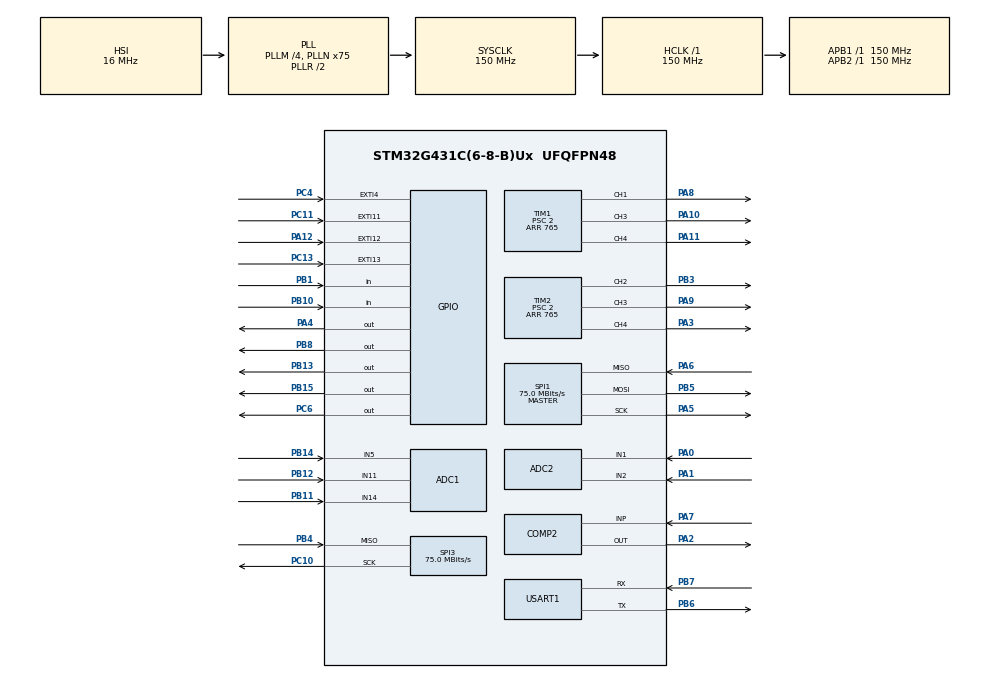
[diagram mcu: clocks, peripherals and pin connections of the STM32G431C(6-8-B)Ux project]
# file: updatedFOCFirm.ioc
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ADC1.Channel-0\#ChannelRegularConversion=ADC_CHANNEL_5
ADC1.Channel-1\#ChannelRegularConversion=ADC_CHANNEL_11
ADC1.Channel-2\#ChannelRegularConversion=ADC_CHANNEL_14
ADC1.DMAContinuousRequests=ENABLE
ADC1.EOCSelection=ADC_EOC_SEQ_CONV
ADC1.ExternalTrigConv=ADC_EXTERNALTRIG_T1_CC2
ADC1.NbrOfConversion=3
ADC1.NbrOfConversionFlag=1
ADC1.Offset-0\#ChannelRegularConversion=40
ADC1.Offset-1\#ChannelRegularConversion=10
ADC1.OffsetNumber-0\#ChannelRegularConversion=ADC_OFFSET_4
ADC1.OffsetNumber-1\#ChannelRegularConversion=ADC_OFFSET_1
ADC1.OffsetNumber-2\#ChannelRegularConversion=ADC_OFFSET_NONE
ADC1.Rank-0\#ChannelRegularConversion=1
ADC1.Rank-1\#ChannelRegularConversion=2
ADC1.Rank-2\#ChannelRegularConversion=3
ADC1.SamplingTime-0\#ChannelRegularConversion=ADC_SAMPLETIME_6CYCLES_5
ADC1.SamplingTime-1\#ChannelRegularConversion=ADC_SAMPLETIME_6CYCLES_5
ADC1.SamplingTime-2\#ChannelRegularConversion=ADC_SAMPLETIME_6CYCLES_5
ADC1.master=1
ADC2.Channel-0\#ChannelRegularConversion=ADC_CHANNEL_1
ADC2.Channel-1\#ChannelRegularConversion=ADC_CHANNEL_2
ADC2.DMAContinuousRequests=ENABLE
ADC2.ExternalTrigConv=ADC_EXTERNALTRIG_T1_CC2
ADC2.NbrOfConversion=2
ADC2.NbrOfConversionFlag=1
ADC2.OffsetNumber-0\#ChannelRegularConversion=ADC_OFFSET_NONE
ADC2.OffsetNumber-1\#ChannelRegularConversion=ADC_OFFSET_NONE
ADC2.Rank-0\#ChannelRegularConversion=1
ADC2.Rank-1\#ChannelRegularConversion=2
ADC2.SamplingTime-0\#ChannelRegularConversion=ADC_SAMPLETIME_6CYCLES_5
ADC2.SamplingTime-1\#ChannelRegularConversion=ADC_SAMPLETIME_6CYCLES_5
Dma.ADC1.0.Direction=DMA_PERIPH_TO_MEMORY
Dma.ADC1.0.EventEnable=DISABLE
Dma.ADC1.0.Instance=DMA1_Channel1
Dma.ADC1.0.MemDataAlignment=DMA_MDATAALIGN_HALFWORD
Dma.ADC1.0.MemInc=DMA_MINC_ENABLE
Dma.ADC1.0.Mode=DMA_CIRCULAR
Dma.ADC1.0.PeriphDataAlignment=DMA_PDATAALIGN_HALFWORD
Dma.ADC1.0.PeriphInc=DMA_PINC_DISABLE
Dma.ADC1.0.Polarity=HAL_DMAMUX_REQ_GEN_RISING
Dma.ADC1.0.Priority=DMA_PRIORITY_LOW
Dma.ADC1.0.RequestNumber=1
Dma.ADC1.0.SignalID=NONE
Dma.ADC1.0.SyncEnable=DISABLE
Dma.ADC1.0.SyncPolarity=HAL_DMAMUX_SYNC_NO_EVENT
Dma.ADC1.0.SyncRequestNumber=1
Dma.ADC1.0.SyncSignalID=NONE
Dma.ADC2.1.Direction=DMA_PERIPH_TO_MEMORY
Dma.ADC2.1.EventEnable=DISABLE
Dma.ADC2.1.Instance=DMA1_Channel2
Dma.ADC2.1.MemDataAlignment=DMA_MDATAALIGN_HALFWORD
Dma.ADC2.1.MemInc=DMA_MINC_ENABLE
Dma.ADC2.1.Mode=DMA_CIRCULAR
Dma.ADC2.1.PeriphDataAlignment=DMA_PDATAALIGN_HALFWORD
Dma.ADC2.1.PeriphInc=DMA_PINC_DISABLE
Dma.ADC2.1.Polarity=HAL_DMAMUX_REQ_GEN_RISING
Dma.ADC2.1.Priority=DMA_PRIORITY_LOW
Dma.ADC2.1.RequestNumber=1
Dma.ADC2.1.SignalID=NONE
Dma.ADC2.1.SyncEnable=DISABLE
Dma.ADC2.1.SyncPolarity=HAL_DMAMUX_SYNC_NO_EVENT
Dma.ADC2.1.SyncRequestNumber=1
Dma.ADC2.1.SyncSignalID=NONE
Dma.Request0=ADC1
Dma.Request1=ADC2
Mcu.Family=STM32G4
Mcu.Name=STM32G431C(6-8-B)Ux
Mcu.Package=UFQFPN48
NVIC.DMA1_Channel1_IRQn=true\:0\:0\:false\:false\:true\:false\:true\:true
NVIC.DMA1_Channel2_IRQn=true\:0\:0\:false\:false\:true\:false\:true\:true
NVIC.EXTI15_10_IRQn=true\:0\:0\:false\:false\:true\:true\:true\:true
NVIC.EXTI4_IRQn=true\:0\:0\:false\:false\:true\:true\:true\:true
NVIC.PriorityGroup=NVIC_PRIORITYGROUP_4
NVIC.TIM1_TRG_COM_TIM17_IRQn=true\:0\:0\:false\:false\:true\:true\:true\:true
NVIC.TIM7_IRQn=true\:0\:0\:false\:false\:true\:true\:true\:true
PA0.Mode=IN1-Single-Ended
PA0.Signal=ADC2_IN1
PA1.Mode=IN2-Single-Ended
PA1.Signal=ADC2_IN2
PA10.Signal=S_TIM1_CH3
PA11.Signal=S_TIM1_CH4
PA12.Signal=GPXTI12
PA13.Mode=Serial_Wire
PA13.Signal=SYS_JTMS-SWDIO
PA14.Mode=Serial_Wire
PA14.Signal=SYS_JTCK-SWCLK
PA2.Mode=ExternalOutput
PA2.Signal=COMP2_OUT
PA3.Signal=S_TIM2_CH4
PA4.Signal=GPIO_Output
PA5.Mode=Full_Duplex_Master
PA5.Signal=SPI1_SCK
PA6.Mode=Full_Duplex_Master
PA6.Signal=SPI1_MISO
PA7.Mode=INP
PA7.Signal=COMP2_INP
PA8.Signal=S_TIM1_CH1
PA9.Signal=S_TIM2_CH3
PB1.Signal=GPIO_Input
PB10.Signal=GPIO_Input
PB11.Mode=IN14-Single-Ended
PB11.Signal=ADC1_IN14
PB12.Mode=IN11-Single-Ended
PB12.Signal=ADC1_IN11
PB13.Signal=GPIO_Output
PB14.Mode=IN5-Single-Ended
PB14.Signal=ADC1_IN5
PB15.Signal=GPIO_Output
PB3.Signal=S_TIM2_CH2
PB4.Mode=RX_Only_Simplex_Unidirect_Master
PB4.Signal=SPI3_MISO
PB5.Mode=Full_Duplex_Master
PB5.Signal=SPI1_MOSI
PB6.Mode=Asynchronous
PB6.Signal=USART1_TX
PB7.Mode=Asynchronous
PB7.Signal=USART1_RX
PB8-BOOT0.Signal=GPIO_Output
PC10.Mode=RX_Only_Simplex_Unidirect_Master
PC10.Signal=SPI3_SCK
PC11.GPIO_ModeDefaultEXTI=GPIO_MODE_IT_RISING_FALLING
PC11.Signal=GPXTI11
PC13.GPIO_ModeDefaultEXTI=GPIO_MODE_IT_RISING_FALLING
PC13.Signal=GPXTI13
PC4.GPIO_ModeDefaultEXTI=GPIO_MODE_IT_RISING_FALLING
PC4.Signal=GPXTI4
PC6.Signal=GPIO_Output
ProjectManager.HeapSize=0x200
ProjectManager.StackSize=0x400
ProjectManager.TargetToolchain=STM32CubeIDE
RCC.ADC12Freq_Value=150000000
RCC.AHBFreq_Value=150000000
RCC.APB1Freq_Value=150000000
RCC.APB1TimFreq_Value=150000000
RCC.APB2Freq_Value=150000000
RCC.APB2TimFreq_Value=150000000
RCC.CortexFreq_Value=150000000
RCC.EXTERNAL_CLOCK_VALUE=12288000
RCC.HCLKFreq_Value=150000000
RCC.HSE_VALUE=8000000
RCC.HSI48_VALUE=48000000
RCC.HSI_VALUE=16000000
RCC.LSE_VALUE=32768
RCC.PLLM=RCC_PLLM_DIV4
RCC.PLLN=75
RCC.SYSCLKFreq_VALUE=150000000
RCC.SYSCLKSource=RCC_SYSCLKSOURCE_PLLCLK
RCC.USBFreq_Value=150000000
RCC.VCOOutputFreq_Value=300000000
SH.S_TIM1_CH1.0=TIM1_CH1,PWM Generation1 CH1
SH.S_TIM1_CH3.0=TIM1_CH3,PWM Generation3 CH3
SH.S_TIM1_CH4.0=TIM1_CH4,PWM Generation4 CH4
SH.S_TIM2_CH2.0=TIM2_CH2,PWM Generation2 CH2
SH.S_TIM2_CH3.0=TIM2_CH3,PWM Generation3 CH3
SH.S_TIM2_CH4.0=TIM2_CH4,PWM Generation4 CH4
SPI1.CalculateBaudRate=75.0 MBits/s
SPI1.Direction=SPI_DIRECTION_2LINES
SPI1.Mode=SPI_MODE_MASTER
SPI1.VirtualType=VM_MASTER
SPI3.CalculateBaudRate=75.0 MBits/s
SPI3.Direction=SPI_DIRECTION_2LINES_RXONLY
SPI3.Mode=SPI_MODE_MASTER
SPI3.VirtualType=VM_MASTER
TIM1.Channel-PWM\ Generation1\ CH1=TIM_CHANNEL_1
TIM1.Channel-PWM\ Generation2\ No\ Output=TIM_CHANNEL_2
TIM1.Channel-PWM\ Generation3\ CH3=TIM_CHANNEL_3
TIM1.Channel-PWM\ Generation4\ CH4=TIM_CHANNEL_4
TIM1.CounterMode=TIM_COUNTERMODE_CENTERALIGNED1
TIM1.OCPolarity_1=TIM_OCPOLARITY_HIGH
TIM1.OCPolarity_3=TIM_OCPOLARITY_HIGH
TIM1.OCPolarity_4=TIM_OCPOLARITY_HIGH
TIM1.PeriodNoDither=765
TIM1.Prescaler=2
TIM1.TIM_MasterOutputTrigger=TIM_TRGO_OC2REF
TIM1.TIM_MasterSlaveMode=TIM_MASTERSLAVEMODE_ENABLE
TIM16.PeriodNoDither=10000
TIM16.Prescaler=2
TIM17.Prescaler=150
TIM2.Channel-PWM\ Generation2\ CH2=TIM_CHANNEL_2
TIM2.Channel-PWM\ Generation3\ CH3=TIM_CHANNEL_3
TIM2.Channel-PWM\ Generation4\ CH4=TIM_CHANNEL_4
TIM2.PeriodNoDither=765
TIM2.Prescaler=2
TIM7.PeriodNoDither=2556
TIM7.Prescaler=4
USART1.VirtualMode-Asynchronous=VM_ASYNC
VP_COMP2_VS_VREFINT.Mode=VREFINT
VP_SYS_VS_DBSignals.Mode=DisableDeadBatterySignals
VP_TIM16_VS_ClockSourceINT.Mode=Enable_Timer
VP_TIM17_VS_ClockSourceINT.Mode=Enable_Timer
VP_TIM1_VS_ClockSourceINT.Mode=Internal
VP_TIM1_VS_no_output2.Mode=PWM Generation2 No Output
VP_TIM7_VS_ClockSourceINT.Mode=Enable_Timer
board=custom

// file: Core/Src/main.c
/* USER CODE BEGIN Header */
/**
  ******************************************************************************
  * @file           : main.c
  * @brief          : Main program body
  ******************************************************************************
  * @attention
  *
  * Copyright (c) 2024 STMicroelectronics.
  * All rights reserved.
  *
  * This software is licensed under terms that can be found in the LICENSE file
  * in the root directory of this software component.
  * If no LICENSE file comes with this software, it is provided AS-IS.
  *
  ******************************************************************************
  */
/* USER CODE END Header */
#include "main.h"

/* USER CODE BEGIN Includes */
#include "motor.h"
#include "stm32g4xx.h"
#include "stm32g431xx.h"
#include "stm32g4xx_hal.h"
#include "lsm6dso.h"
#include "lsm6dso_reg.h"
#include <string.h>
/* USER CODE END Includes */

/* USER CODE BEGIN PD */
#define ADC_BUF_LENGTH 4096
#define TIMCLOCK   150000000
#define PRESCALAR  150
/* USER CODE END PD */

ADC_HandleTypeDef hadc1;
ADC_HandleTypeDef hadc2;
DMA_HandleTypeDef hdma_adc1;
DMA_HandleTypeDef hdma_adc2;

COMP_HandleTypeDef hcomp2;

SPI_HandleTypeDef hspi1;
SPI_HandleTypeDef hspi3;

TIM_HandleTypeDef htim1;
TIM_HandleTypeDef htim2;
TIM_HandleTypeDef htim7;
TIM_HandleTypeDef htim16;
TIM_HandleTypeDef htim17;

UART_HandleTypeDef huart1;

/* USER CODE BEGIN PV */
float gravity = 9.807f;
uint16_t adc1_val[2];
uint16_t adc_val2;
uint8_t rxBuffer;
uint8_t adcDataReady;
uint8_t uartDataReady;
uint32_t tim1Val1 = 0;
uint32_t tim1Val2 = 0;
uint32_t Difference1 = 0;
int isFirstCap1 = 0;
float frequency1 = 0;
uint32_t tim2Val1 = 0;
uint32_t tim2Val2 = 0;
uint32_t Difference2 = 0;
int isFirstCap2 = 0;
float frequency2 = 0;
uint32_t tim3Val1 = 0;
uint32_t tim3Val2 = 0;
uint32_t Difference3 = 0;
int isFirstCap3 = 0;
float frequency3 = 0;
float combinedSpeed;
double angle;
float adc1Avg_U;
float adc1Avg_W;
float yAcceleration;
float xAcceleration;
float zAcceleration;
float temp;
uint32_t xRotation;
uint32_t yRotation;
uint32_t zRotation;

float avgYAcceleration;
float adc2Avg;
motor_t motor;

gpio_Pin Hall_1 = { .gpioGroup = GPIOC, .gpioPin = GPIO_PIN_11 };       //EXTI11
gpio_Pin Hall_2 = { .gpioGroup = GPIOA, .gpioPin = GPIO_PIN_12 };        //EXTI12
gpio_Pin Hall_3 = { .gpioGroup = GPIOC, .gpioPin = GPIO_PIN_4 };       	//EXTI4

gpio_Pin fault = { .gpioGroup = GPIOB, .gpioPin = GPIO_PIN_1 };			//FAULT

gpio_Pin txen = { .gpioGroup = GPIOB, .gpioPin = GPIO_PIN_8 };          //TXEN

gpio_Pin imuInt = { .gpioGroup = GPIOC, .gpioPin = GPIO_PIN_13 };
gpio_Pin imuCS = { .gpioGroup = GPIOA, .gpioPin = GPIO_PIN_4 };				//IMU INT
double newAngle;
bool doDMArx;
gpio_Pin ena = { .gpioGroup = GPIOB, .gpioPin = GPIO_PIN_15 };            	//motor ENA
gpio_Pin enb = { .gpioGroup = GPIOB, .gpioPin = GPIO_PIN_13 };           	//motor ENB
gpio_Pin enc = { .gpioGroup = GPIOC, .gpioPin = GPIO_PIN_6 };            	//motor ENC

gpio_Pin motor_Sleep = { .gpioGroup = GPIOA, .gpioPin = GPIO_PIN_2 };          //motor SLEEP

gpio_Pin proxi = { .gpioGroup = GPIOB, .gpioPin = GPIO_PIN_10 };    	//PROXY
uint8_t rx_buff[5];
uint8_t isDA[] = {0xDA, 0XBA, 0xD0, 0x00};
uint8_t retDA[] = {0x00, 0xD0, 0xBA, 0xDA};
uint8_t address= 0x0F;

int startState;
int nextState;

uint8_t convCompleted;

uint32_t timVal1 = 0;
uint32_t timVal2 = 0;
uint32_t Difference = 0;
int isFirstCap = 0;
float frequency = 0;
uint8_t lastHallState;
int hallCount;
int revolutions;
int timerCount;
int toggleState;
uint32_t node = 0x69;

LSM6DSO_Object_t acc;
/* USER CODE END PV */

void SystemClock_Config(void);
static void MX_GPIO_Init(void);
static void MX_DMA_Init(void);
static void MX_ADC1_Init(void);
static void MX_SPI1_Init(void);
static void MX_TIM1_Init(void);
static void MX_TIM2_Init(void);
static void MX_TIM17_Init(void);
static void MX_TIM16_Init(void);
static void MX_TIM7_Init(void);
static void MX_ADC2_Init(void);
static void MX_COMP2_Init(void);
static void MX_SPI3_Init(void);
static void MX_USART1_UART_Init(void);
/* USER CODE BEGIN PFP */
void RGB_Init(void);
void RGB_setIntensity(uint8_t red, uint8_t green, uint8_t blue);
void accRead(uint8_t add, uint8_t* data);
void readAccel(void);
/* USER CODE END PFP */

/* USER CODE BEGIN 0 */
void HAL_GPIO_EXTI_Callback(uint16_t GPIO_Pin){
	int timeSteps;
	timeSteps = __HAL_TIM_GET_COUNTER(&htim17);
	float refClock = TIMCLOCK/(PRESCALAR);
	motor.speed = (60.0f)/((float)timeSteps/refClock);
	motor.hallCount = timeSteps;
	readHalls(&motor);
	htim17.Instance->CNT = 0;

}

void HAL_TIM_PeriodElapsedCallback(TIM_HandleTypeDef *htim){
	if(htim == &htim17){
		motor.speed = 0;
		motor.avg_speed = 0;
		motor.hallspeed = 0;
		htim17.Instance->CNT = 0;
		motor.prescaler++;
	}
	if(htim == &htim16){

		//MOTOR_FOCtask(&motor);
		//MOTOR_task(&motor);
		htim->Instance->CNT = 0;
	}
	if(htim == &htim7){
		motor.torqueLevel = 15.0f;

		htim->Instance->CNT = 0;
	}
}

void HAL_UART_RxCpltCallback(UART_HandleTypeDef *huart){
    if(1){  // RX is complete

        // SYNC
        if(rx_buff[0] == isDA[0] && rx_buff[1] == isDA[1] && rx_buff[2] == isDA[2] && rx_buff[3] == isDA[3]){
        	RGB_setIntensity(186, 26, 133); //186, 26, 133
        	HAL_GPIO_WritePin(txen.gpioGroup, txen.gpioPin, 1); // setting txen high
        	HAL_UART_Transmit(&huart1, retDA, 4, 100);
        	HAL_GPIO_WritePin(txen.gpioGroup, txen.gpioPin, 0); // setting txen low
        }

    }
}
void readAccel(void){
	address |= 0x80;
	HAL_GPIO_WritePin(imuCS.gpioGroup, imuCS.gpioPin, 0); // setting CS LOW
	HAL_SPI_Transmit(&hspi1, &address, 1, 100);
	HAL_SPI_Receive(&hspi1, &rxBuffer, 1, 100);
	HAL_GPIO_WritePin(imuCS.gpioGroup, imuCS.gpioPin, 1);// setting CS HIGH
	HAL_GPIO_WritePin(txen.gpioGroup, txen.gpioPin, 1); // setting txen high
	HAL_UART_Transmit(&huart1, &rxBuffer, 1, 100);
	HAL_GPIO_WritePin(txen.gpioGroup, txen.gpioPin, 0); // setting txen low
}

void xRot(void){
	uint8_t x_high = 0x22;
	uint8_t x_low =  0x23;
	uint8_t highBuff;
	uint8_t lowBuff;

	accRead(x_high, &highBuff);
	accRead(x_low, &lowBuff);

	xRotation = (highBuff << 8)|lowBuff;
}

void yRot(void){
	uint8_t y_high = 0x24;
	uint8_t y_low =  0x25;
	uint8_t highBuff;
	uint8_t lowBuff;

	accRead(y_high, &highBuff);
	accRead(y_low, &lowBuff);

	yRotation = (highBuff << 8)|lowBuff;
}

void zRot(void){
	uint8_t z_high = 0x26;
	uint8_t z_low =  0x27;
	uint8_t highBuff;
	uint8_t lowBuff;

	accRead(z_high, &highBuff);
	accRead(z_low, &lowBuff);

	zRotation = (highBuff << 8)|lowBuff;
}

void accelerationY(void){
	uint8_t y_high = 0x2B;
	uint8_t y_low =  0x2A;
	uint8_t highBuff;
	uint8_t lowBuff;

	accRead(y_high, &highBuff);
	accRead(y_low, &lowBuff);

	yAcceleration = gravity * ((float)((highBuff << 8)|lowBuff) / 65536.0f);
}

void accelerationX(void){
	uint8_t x_high = 0x29;
	uint8_t x_low =  0x28;
	uint8_t highBuff;
	uint8_t lowBuff;

	//accRead(y_high, highBuff);
	accRead(x_high, &highBuff);
	accRead(x_low, &lowBuff);

	xAcceleration = gravity *((float)((highBuff << 8)|lowBuff) / 65536.0f);
}
void accelerationZ(void){
	uint8_t z_high = 0x2D;
	uint8_t z_low =  0x2C;
	uint8_t highBuff;
	uint8_t lowBuff;

	accRead(z_high, &highBuff);
	accRead(z_low, &lowBuff);

	zAcceleration = gravity*((float)((highBuff << 8)|lowBuff) / 65536.0f);
}

void tempMeasure(void){
	uint8_t temp_high = 0x20;
	uint8_t temp_low =  0x21;
	uint8_t highBuff;
	uint8_t lowBuff;

	accRead(temp_high, &highBuff);
	accRead(temp_low, &lowBuff);

	temp = gravity * ((float)((highBuff << 8)|lowBuff) / 65536.0f);
}

// Function to calculate filter coefficients for higher order Butterworth filter
void butterworth_lowpass_coefficients(int order, float cutoff_frequency, float sampling_rate, float* a, float* b) {
    int n;
    float wc = tanf(cutoff_frequency * 3.1415926f / sampling_rate);
    float wc2 = wc * wc;

    for (n = 0; n < order; ++n) {
        float theta = (float)(2 * n + 1) * 3.1415926f / (2.0f * order);
        float sn = sinf(theta);
        float cs = cosf(theta);
        float beta = 0.5f * ((1.0f - sn * wc) / (1.0f + sn * wc));
        float gamma = (0.5f + beta) * cs;
        float alpha = 0.5f * (0.5f + beta - gamma);

        b[3 * n + 0] = alpha;
        b[3 * n + 1] = 2.0f * alpha;
        b[3 * n + 2] = alpha;

        a[3 * n + 0] = 1.0f;
        a[3 * n + 1] = -2.0f * gamma;
        a[3 * n + 2] = 2.0f * beta;
    }
}

// Function to apply the Butterworth filter
void butterworth_lowpass_filter(float* data, float* output, int length, int order, float* a, float* b) {
    float x1[order], x2[order];
    float y1[order], y2[order];

    for (int i = 0; i < order; ++i) {
        x1[i] = x2[i] = y1[i] = y2[i] = 0.0f;
    }

    for (int i = 0; i < length; ++i) {
        float x0 = data[i];
        float y0 = 0.0f;

        for (int j = 0; j < order; ++j) {
            y0 += (b[3 * j + 0] * x0 + b[3 * j + 1] * x1[j] + b[3 * j + 2] * x2[j] - a[3 * j + 1] * y1[j] - a[3 * j + 2] * y2[j]) / a[3 * j + 0];

            x2[j] = x1[j];
            x1[j] = x0;
            y2[j] = y1[j];
            y1[j] = y0;
        }

        output[i] = y0;
    }
}
void accWrite(uint8_t add, uint8_t *data){
	//read
	uint8_t buff;
	//write
	buff = add & 0b01111111;

	HAL_GPIO_WritePin(imuCS.gpioGroup, imuCS.gpioPin, 0); // setting CS LOW
	HAL_SPI_Transmit(&hspi1, &buff, 1, 100);
	HAL_SPI_Transmit(&hspi1, data, 1, 100);
	HAL_GPIO_WritePin(imuCS.gpioGroup, imuCS.gpioPin, 1);// setting CS HIGH
	return;
}
void accRead(uint8_t add, uint8_t* data){
	uint8_t buff;
	buff = add | 0x80;

	HAL_GPIO_WritePin(imuCS.gpioGroup, imuCS.gpioPin, 0); // setting CS LOW
	HAL_SPI_Transmit(&hspi1, &buff, 1, 100);
	HAL_SPI_Receive(&hspi1, data, 1, 100);
	HAL_GPIO_WritePin(imuCS.gpioGroup, imuCS.gpioPin, 1);// setting CS HIGH
	return;
}

void RGB_setIntensity(uint8_t red, uint8_t green, uint8_t blue){
  if(red > 255){
    red = 255;
  }
  else if(red < 0){
    red = 0;
  }
  if(blue > 255){
    blue = 255;
  }
  else if(blue < 0){
    blue = 0;
  }
  if(green > 255){
    green = 255;
  }
  else if(green < 0){
    green = 0;
  }
  htim2.Instance->CCR1 = red;
  htim2.Instance->CCR2 = green;
  htim2.Instance->CCR3 = blue;
}
/* USER CODE END 0 */

int main(void)
{

  /* MCU Configuration--------------------------------------------------------*/

  /* Reset of all peripherals, Initializes the Flash interface and the Systick. */
  HAL_Init();

  /* Configure the system clock */
  SystemClock_Config();

  /* Initialize all configured peripherals */
  MX_GPIO_Init();
  MX_DMA_Init();
  MX_ADC1_Init();
  MX_SPI1_Init();
  MX_TIM1_Init();
  MX_TIM2_Init();
  MX_TIM17_Init();
  MX_TIM16_Init();
  MX_TIM7_Init();
  MX_ADC2_Init();
  MX_COMP2_Init();
  MX_SPI3_Init();
  MX_USART1_UART_Init();
  /* USER CODE BEGIN 2 */
  acc.IO.BusType = 4;
  acc.IO.Address = address;
  acc.IO.WriteReg = &accWrite;
  acc.IO.ReadReg = &accRead;

  // set up motor struct
  motor.pwm = &htim1;
  motor.adc = &hadc1;
  motor.encoder = &hspi1;
  // Enable pins
  motor.torqueLevel = 50.0f;

  motor.enablePins[0] = ena;
  motor.enablePins[1] = enb;
  motor.enablePins[2] = enc;
  motor.motorSleep = motor_Sleep;

  motor.hallPins[0] = Hall_1;
  motor.hallPins[1] = Hall_2;
  motor.hallPins[2] = Hall_3;
  motor.dutyCycle = 0.2;
  motor.speedTim = &htim17;
  motor.dir = 0;        // make go forward

  uint8_t dataBuffer;
  uint8_t changeState;

  //accelerometer Control Reg
  accRead(0x10, &dataBuffer);

  changeState = dataBuffer | 0b10100000;
  accWrite(0x10, &changeState);

  //GyroControl Reg
  accRead(0x11, &dataBuffer);

  changeState = dataBuffer | 0b10100000;
  accWrite(0x11, &changeState);

  //
  accRead(0x13, &dataBuffer);

  changeState = dataBuffer | 0b10101100;
  accWrite(0x13, &changeState);

  MOTOR_init(&motor);
  int order = 4; // 2nd order Butterworth filter
  float cutoff_frequency = 5.0f; // Desired cutoff frequency in Hz
  float sampling_rate = 500.0f; // Sampling rate in Hz
  int length = 100; // Length of the data array

  // Example input data (replace with your actual ADC data)
  float adcData[100];
  float filteredData[100];
  float a[3], b[3];

  toggleState = 0;
  double kp = 0.00000000215f;
  double kd = 0.00000000205f;
  double ki = 0.000000000288f;
  double lastDuty = 0;
  double lastSpeedErr = 0;
  double speedErr = 0;
  double totalErr = 0;
  int samples = 0;
  int count = 0;
  double lastSpeed;
  uint16_t encoderData;
  //SEGGER_RTT_Init();
  float rollAngle;
  float pitchAngle;
  float yawAngle;
  char * adcString;

  float datatest;
  SEGGER_RTT_Init();
  HAL_COMP_Start(&hcomp2);

  HAL_TIM_PWM_Start(&htim2,  TIM_CHANNEL_2);
  HAL_TIM_PWM_Start(&htim2,  TIM_CHANNEL_3);
  HAL_TIM_PWM_Start(&htim2,  TIM_CHANNEL_4);
  htim2.Instance->CCR2 = 0;
  htim2.Instance->CCR3 = 0;
  htim2.Instance->CCR4 = 0;

  HAL_TIM_Base_Start_IT(&htim17);
  HAL_TIM_Base_Start(&htim17);

  //start adc for motor
  HAL_ADCEx_Calibration_Start(&hadc1, ADC_SINGLE_ENDED);
  HAL_ADC_Start_DMA(&hadc1, (uint32_t *) motor.adcData, 3);

  // start adc for joystick
  HAL_ADCEx_Calibration_Start(&hadc2, ADC_SINGLE_ENDED);
  HAL_ADC_Start_DMA(&hadc2, (uint32_t *) motor.joystickData, 2);

  // setting motor 1
  int x = 0 ;
  float offsetU;
  float offsetV;
  float offsetW;

  while (x < 1000){
	  offsetU += (float)motor.adcData[0];
  	  offsetV += (float)motor.adcData[1];
  	  offsetW += (float)motor.adcData[2];
  	  x++;
  	  }
  motor.posMode = false;
  motor.prescaler = 150;
  motor.offset[0] = round(offsetU/1000.0f);
  motor.offset[1] = round(offsetV/1000.0f);
  motor.offset[2] = round(offsetW/1000.0f);
  motor.torqueLevel = 12;

  int ledTime = 0;
  /* USER CODE END 2 */

  /* Infinite loop */
  while (1)
  {

    /* USER CODE BEGIN 3 */
	  htim2.Instance->CCR2 = 500.0f;
	  htim2.Instance->CCR3 = 500.0f;
	  htim2.Instance->CCR4 = 0;
	  ledTime+=0.00001;

	  if(motor.joystickData[0] > 2500){
		  motor.dir = 1;
		  motor.posMode = false;
		  motor.goalSpeed = 100.0f;
	  }
	  else if (motor.joystickData[0] < 2000){
		  motor.posMode = false;
		  motor.dir = 0;
		  motor.goalSpeed = 100.0f;
	  }
	  else{
		  motor.goalSpeed = 0.0f;
		  motor.posMode = true;
	  }

	  get_Current(&motor);
	  motor.hallCount = htim17.Instance->CNT;

	  readHalls(&motor);
	  MOTOR_FOCtask(&motor);
	  speedErr = (float)(motor.goalSpeed - motor.avg_speed);
	  motor.dutyCycle = motor.dutyCycle + (float)(kp *speedErr) + (float)(kd * (speedErr - lastSpeedErr)) + (float)(ki * totalErr);

	 if(motor.dutyCycle > 1.0f){
	    motor.dutyCycle = 1.0f;
	 	 }
	 else if(motor.dutyCycle < 0.000f){
			motor.dutyCycle = 0.000f;
		}
  	}
	lastSpeedErr = speedErr;
	lastDuty = motor.dutyCycle;
	totalErr += speedErr;
	lastSpeed = motor.hallspeed;
  /* USER CODE END 3 */
}

void SystemClock_Config(void)
{
  RCC_OscInitTypeDef RCC_OscInitStruct = {0};
  RCC_ClkInitTypeDef RCC_ClkInitStruct = {0};

  /** Configure the main internal regulator output voltage
  */
  HAL_PWREx_ControlVoltageScaling(PWR_REGULATOR_VOLTAGE_SCALE1);

  /** Initializes the RCC Oscillators according to the specified parameters
  * in the RCC_OscInitTypeDef structure.
  */
  RCC_OscInitStruct.OscillatorType = RCC_OSCILLATORTYPE_HSI;
  RCC_OscInitStruct.HSIState = RCC_HSI_ON;
  RCC_OscInitStruct.HSICalibrationValue = RCC_HSICALIBRATION_DEFAULT;
  RCC_OscInitStruct.PLL.PLLState = RCC_PLL_ON;
  RCC_OscInitStruct.PLL.PLLSource = RCC_PLLSOURCE_HSI;
  RCC_OscInitStruct.PLL.PLLM = RCC_PLLM_DIV4;
  RCC_OscInitStruct.PLL.PLLN = 75;
  RCC_OscInitStruct.PLL.PLLP = RCC_PLLP_DIV2;
  RCC_OscInitStruct.PLL.PLLQ = RCC_PLLQ_DIV2;
  RCC_OscInitStruct.PLL.PLLR = RCC_PLLR_DIV2;
  if (HAL_RCC_OscConfig(&RCC_OscInitStruct) != HAL_OK)
  {
    Error_Handler();
  }

  /** Initializes the CPU, AHB and APB buses clocks
  */
  RCC_ClkInitStruct.ClockType = RCC_CLOCKTYPE_HCLK|RCC_CLOCKTYPE_SYSCLK
                              |RCC_CLOCKTYPE_PCLK1|RCC_CLOCKTYPE_PCLK2;
  RCC_ClkInitStruct.SYSCLKSource = RCC_SYSCLKSOURCE_PLLCLK;
  RCC_ClkInitStruct.AHBCLKDivider = RCC_SYSCLK_DIV1;
  RCC_ClkInitStruct.APB1CLKDivider = RCC_HCLK_DIV1;
  RCC_ClkInitStruct.APB2CLKDivider = RCC_HCLK_DIV1;

  if (HAL_RCC_ClockConfig(&RCC_ClkInitStruct, FLASH_LATENCY_4) != HAL_OK)
  {
    Error_Handler();
  }
}

static void MX_ADC1_Init(void)
{

  ADC_MultiModeTypeDef multimode = {0};
  ADC_ChannelConfTypeDef sConfig = {0};

  /** Common config
  */
  hadc1.Instance = ADC1;
  hadc1.Init.ClockPrescaler = ADC_CLOCK_SYNC_PCLK_DIV4;
  hadc1.Init.Resolution = ADC_RESOLUTION_12B;
  hadc1.Init.DataAlign = ADC_DATAALIGN_RIGHT;
  hadc1.Init.GainCompensation = 0;
  hadc1.Init.ScanConvMode = ADC_SCAN_ENABLE;
  hadc1.Init.EOCSelection = ADC_EOC_SEQ_CONV;
  hadc1.Init.LowPowerAutoWait = DISABLE;
  hadc1.Init.ContinuousConvMode = DISABLE;
  hadc1.Init.NbrOfConversion = 3;
  hadc1.Init.DiscontinuousConvMode = DISABLE;
  hadc1.Init.ExternalTrigConv = ADC_EXTERNALTRIG_T1_CC2;
  hadc1.Init.ExternalTrigConvEdge = ADC_EXTERNALTRIGCONVEDGE_RISING;
  hadc1.Init.DMAContinuousRequests = ENABLE;
  hadc1.Init.Overrun = ADC_OVR_DATA_PRESERVED;
  hadc1.Init.OversamplingMode = DISABLE;
  if (HAL_ADC_Init(&hadc1) != HAL_OK)
  {
    Error_Handler();
  }

  /** Configure the ADC multi-mode
  */
  multimode.Mode = ADC_MODE_INDEPENDENT;
  if (HAL_ADCEx_MultiModeConfigChannel(&hadc1, &multimode) != HAL_OK)
  {
    Error_Handler();
  }

  /** Configure Regular Channel
  */
  sConfig.Channel = ADC_CHANNEL_5;
  sConfig.Rank = ADC_REGULAR_RANK_1;
  sConfig.SamplingTime = ADC_SAMPLETIME_6CYCLES_5;
  sConfig.SingleDiff = ADC_SINGLE_ENDED;
  sConfig.OffsetNumber = ADC_OFFSET_4;
  sConfig.Offset = 40;
  sConfig.OffsetSign = ADC_OFFSET_SIGN_NEGATIVE;
  sConfig.OffsetSaturation = DISABLE;
  if (HAL_ADC_ConfigChannel(&hadc1, &sConfig) != HAL_OK)
  {
    Error_Handler();
  }

  /** Configure Regular Channel
  */
  sConfig.Channel = ADC_CHANNEL_11;
  sConfig.Rank = ADC_REGULAR_RANK_2;
  sConfig.OffsetNumber = ADC_OFFSET_1;
  sConfig.Offset = 10;
  if (HAL_ADC_ConfigChannel(&hadc1, &sConfig) != HAL_OK)
  {
    Error_Handler();
  }

  /** Configure Regular Channel
  */
  sConfig.Channel = ADC_CHANNEL_14;
  sConfig.Rank = ADC_REGULAR_RANK_3;
  sConfig.OffsetNumber = ADC_OFFSET_NONE;
  sConfig.Offset = 0;
  if (HAL_ADC_ConfigChannel(&hadc1, &sConfig) != HAL_OK)
  {
    Error_Handler();
  }

}

static void MX_ADC2_Init(void)
{

  ADC_ChannelConfTypeDef sConfig = {0};

  /** Common config
  */
  hadc2.Instance = ADC2;
  hadc2.Init.ClockPrescaler = ADC_CLOCK_SYNC_PCLK_DIV4;
  hadc2.Init.Resolution = ADC_RESOLUTION_12B;
  hadc2.Init.DataAlign = ADC_DATAALIGN_RIGHT;
  hadc2.Init.GainCompensation = 0;
  hadc2.Init.ScanConvMode = ADC_SCAN_ENABLE;
  hadc2.Init.EOCSelection = ADC_EOC_SINGLE_CONV;
  hadc2.Init.LowPowerAutoWait = DISABLE;
  hadc2.Init.ContinuousConvMode = DISABLE;
  hadc2.Init.NbrOfConversion = 2;
  hadc2.Init.DiscontinuousConvMode = DISABLE;
  hadc2.Init.ExternalTrigConv = ADC_EXTERNALTRIG_T1_CC2;
  hadc2.Init.ExternalTrigConvEdge = ADC_EXTERNALTRIGCONVEDGE_RISING;
  hadc2.Init.DMAContinuousRequests = ENABLE;
  hadc2.Init.Overrun = ADC_OVR_DATA_PRESERVED;
  hadc2.Init.OversamplingMode = DISABLE;
  if (HAL_ADC_Init(&hadc2) != HAL_OK)
  {
    Error_Handler();
  }

  /** Configure Regular Channel
  */
  sConfig.Channel = ADC_CHANNEL_1;
  sConfig.Rank = ADC_REGULAR_RANK_1;
  sConfig.SamplingTime = ADC_SAMPLETIME_6CYCLES_5;
  sConfig.SingleDiff = ADC_SINGLE_ENDED;
  sConfig.OffsetNumber = ADC_OFFSET_NONE;
  sConfig.Offset = 0;
  if (HAL_ADC_ConfigChannel(&hadc2, &sConfig) != HAL_OK)
  {
    Error_Handler();
  }

  /** Configure Regular Channel
  */
  sConfig.Channel = ADC_CHANNEL_2;
  sConfig.Rank = ADC_REGULAR_RANK_2;
  if (HAL_ADC_ConfigChannel(&hadc2, &sConfig) != HAL_OK)
  {
    Error_Handler();
  }

}

static void MX_COMP2_Init(void)
{

  hcomp2.Instance = COMP2;
  hcomp2.Init.InputPlus = COMP_INPUT_PLUS_IO1;
  hcomp2.Init.InputMinus = COMP_INPUT_MINUS_VREFINT;
  hcomp2.Init.OutputPol = COMP_OUTPUTPOL_NONINVERTED;
  hcomp2.Init.Hysteresis = COMP_HYSTERESIS_NONE;
  hcomp2.Init.BlankingSrce = COMP_BLANKINGSRC_NONE;
  hcomp2.Init.TriggerMode = COMP_TRIGGERMODE_NONE;
  if (HAL_COMP_Init(&hcomp2) != HAL_OK)
  {
    Error_Handler();
  }

}

static void MX_SPI1_Init(void)
{

  /* SPI1 parameter configuration*/
  hspi1.Instance = SPI1;
  hspi1.Init.Mode = SPI_MODE_MASTER;
  hspi1.Init.Direction = SPI_DIRECTION_2LINES;
  hspi1.Init.DataSize = SPI_DATASIZE_4BIT;
  hspi1.Init.CLKPolarity = SPI_POLARITY_LOW;
  hspi1.Init.CLKPhase = SPI_PHASE_1EDGE;
  hspi1.Init.NSS = SPI_NSS_SOFT;
  hspi1.Init.BaudRatePrescaler = SPI_BAUDRATEPRESCALER_2;
  hspi1.Init.FirstBit = SPI_FIRSTBIT_MSB;
  hspi1.Init.TIMode = SPI_TIMODE_DISABLE;
  hspi1.Init.CRCCalculation = SPI_CRCCALCULATION_DISABLE;
  hspi1.Init.CRCPolynomial = 7;
  hspi1.Init.CRCLength = SPI_CRC_LENGTH_DATASIZE;
  hspi1.Init.NSSPMode = SPI_NSS_PULSE_ENABLE;
  if (HAL_SPI_Init(&hspi1) != HAL_OK)
  {
    Error_Handler();
  }

}

static void MX_SPI3_Init(void)
{

  /* SPI3 parameter configuration*/
  hspi3.Instance = SPI3;
  hspi3.Init.Mode = SPI_MODE_MASTER;
  hspi3.Init.Direction = SPI_DIRECTION_2LINES_RXONLY;
  hspi3.Init.DataSize = SPI_DATASIZE_4BIT;
  hspi3.Init.CLKPolarity = SPI_POLARITY_LOW;
  hspi3.Init.CLKPhase = SPI_PHASE_1EDGE;
  hspi3.Init.NSS = SPI_NSS_SOFT;
  hspi3.Init.BaudRatePrescaler = SPI_BAUDRATEPRESCALER_2;
  hspi3.Init.FirstBit = SPI_FIRSTBIT_MSB;
  hspi3.Init.TIMode = SPI_TIMODE_DISABLE;
  hspi3.Init.CRCCalculation = SPI_CRCCALCULATION_DISABLE;
  hspi3.Init.CRCPolynomial = 7;
  hspi3.Init.CRCLength = SPI_CRC_LENGTH_DATASIZE;
  hspi3.Init.NSSPMode = SPI_NSS_PULSE_ENABLE;
  if (HAL_SPI_Init(&hspi3) != HAL_OK)
  {
    Error_Handler();
  }

}

static void MX_TIM1_Init(void)
{

  TIM_ClockConfigTypeDef sClockSourceConfig = {0};
  TIM_MasterConfigTypeDef sMasterConfig = {0};
  TIM_OC_InitTypeDef sConfigOC = {0};
  TIM_BreakDeadTimeConfigTypeDef sBreakDeadTimeConfig = {0};

  htim1.Instance = TIM1;
  htim1.Init.Prescaler = 2;
  htim1.Init.CounterMode = TIM_COUNTERMODE_CENTERALIGNED1;
  htim1.Init.Period = 765;
  htim1.Init.ClockDivision = TIM_CLOCKDIVISION_DIV1;
  htim1.Init.RepetitionCounter = 0;
  htim1.Init.AutoReloadPreload = TIM_AUTORELOAD_PRELOAD_DISABLE;
  if (HAL_TIM_Base_Init(&htim1) != HAL_OK)
  {
    Error_Handler();
  }
  sClockSourceConfig.ClockSource = TIM_CLOCKSOURCE_INTERNAL;
  if (HAL_TIM_ConfigClockSource(&htim1, &sClockSourceConfig) != HAL_OK)
  {
    Error_Handler();
  }
  if (HAL_TIM_PWM_Init(&htim1) != HAL_OK)
  {
    Error_Handler();
  }
  sMasterConfig.MasterOutputTrigger = TIM_TRGO_OC2REF;
  sMasterConfig.MasterOutputTrigger2 = TIM_TRGO2_RESET;
  sMasterConfig.MasterSlaveMode = TIM_MASTERSLAVEMODE_ENABLE;
  if (HAL_TIMEx_MasterConfigSynchronization(&htim1, &sMasterConfig) != HAL_OK)
  {
    Error_Handler();
  }
  sConfigOC.OCMode = TIM_OCMODE_PWM1;
  sConfigOC.Pulse = 0;
  sConfigOC.OCPolarity = TIM_OCPOLARITY_HIGH;
  sConfigOC.OCNPolarity = TIM_OCNPOLARITY_HIGH;
  sConfigOC.OCFastMode = TIM_OCFAST_DISABLE;
  sConfigOC.OCIdleState = TIM_OCIDLESTATE_RESET;
  sConfigOC.OCNIdleState = TIM_OCNIDLESTATE_RESET;
  if (HAL_TIM_PWM_ConfigChannel(&htim1, &sConfigOC, TIM_CHANNEL_1) != HAL_OK)
  {
    Error_Handler();
  }
  if (HAL_TIM_PWM_ConfigChannel(&htim1, &sConfigOC, TIM_CHANNEL_2) != HAL_OK)
  {
    Error_Handler();
  }
  if (HAL_TIM_PWM_ConfigChannel(&htim1, &sConfigOC, TIM_CHANNEL_3) != HAL_OK)
  {
    Error_Handler();
  }
  if (HAL_TIM_PWM_ConfigChannel(&htim1, &sConfigOC, TIM_CHANNEL_4) != HAL_OK)
  {
    Error_Handler();
  }
  sBreakDeadTimeConfig.OffStateRunMode = TIM_OSSR_DISABLE;
  sBreakDeadTimeConfig.OffStateIDLEMode = TIM_OSSI_DISABLE;
  sBreakDeadTimeConfig.LockLevel = TIM_LOCKLEVEL_OFF;
  sBreakDeadTimeConfig.DeadTime = 0;
  sBreakDeadTimeConfig.BreakState = TIM_BREAK_DISABLE;
  sBreakDeadTimeConfig.BreakPolarity = TIM_BREAKPOLARITY_HIGH;
  sBreakDeadTimeConfig.BreakFilter = 0;
  sBreakDeadTimeConfig.BreakAFMode = TIM_BREAK_AFMODE_INPUT;
  sBreakDeadTimeConfig.Break2State = TIM_BREAK2_DISABLE;
  sBreakDeadTimeConfig.Break2Polarity = TIM_BREAK2POLARITY_HIGH;
  sBreakDeadTimeConfig.Break2Filter = 0;
  sBreakDeadTimeConfig.Break2AFMode = TIM_BREAK_AFMODE_INPUT;
  sBreakDeadTimeConfig.AutomaticOutput = TIM_AUTOMATICOUTPUT_DISABLE;
  if (HAL_TIMEx_ConfigBreakDeadTime(&htim1, &sBreakDeadTimeConfig) != HAL_OK)
  {
    Error_Handler();
  }
  HAL_TIM_MspPostInit(&htim1);

}

static void MX_TIM2_Init(void)
{

  TIM_MasterConfigTypeDef sMasterConfig = {0};
  TIM_OC_InitTypeDef sConfigOC = {0};

  htim2.Instance = TIM2;
  htim2.Init.Prescaler = 2;
  htim2.Init.CounterMode = TIM_COUNTERMODE_UP;
  htim2.Init.Period = 765;
  htim2.Init.ClockDivision = TIM_CLOCKDIVISION_DIV1;
  htim2.Init.AutoReloadPreload = TIM_AUTORELOAD_PRELOAD_DISABLE;
  if (HAL_TIM_PWM_Init(&htim2) != HAL_OK)
  {
    Error_Handler();
  }
  sMasterConfig.MasterOutputTrigger = TIM_TRGO_RESET;
  sMasterConfig.MasterSlaveMode = TIM_MASTERSLAVEMODE_DISABLE;
  if (HAL_TIMEx_MasterConfigSynchronization(&htim2, &sMasterConfig) != HAL_OK)
  {
    Error_Handler();
  }
  sConfigOC.OCMode = TIM_OCMODE_PWM1;
  sConfigOC.Pulse = 0;
  sConfigOC.OCPolarity = TIM_OCPOLARITY_HIGH;
  sConfigOC.OCFastMode = TIM_OCFAST_DISABLE;
  if (HAL_TIM_PWM_ConfigChannel(&htim2, &sConfigOC, TIM_CHANNEL_2) != HAL_OK)
  {
    Error_Handler();
  }
  if (HAL_TIM_PWM_ConfigChannel(&htim2, &sConfigOC, TIM_CHANNEL_3) != HAL_OK)
  {
    Error_Handler();
  }
  if (HAL_TIM_PWM_ConfigChannel(&htim2, &sConfigOC, TIM_CHANNEL_4) != HAL_OK)
  {
    Error_Handler();
  }
  HAL_TIM_MspPostInit(&htim2);

}

static void MX_TIM7_Init(void)
{

  TIM_MasterConfigTypeDef sMasterConfig = {0};

  htim7.Instance = TIM7;
  htim7.Init.Prescaler = 4;
  htim7.Init.CounterMode = TIM_COUNTERMODE_UP;
  htim7.Init.Period = 2556;
  htim7.Init.AutoReloadPreload = TIM_AUTORELOAD_PRELOAD_DISABLE;
  if (HAL_TIM_Base_Init(&htim7) != HAL_OK)
  {
    Error_Handler();
  }
  sMasterConfig.MasterOutputTrigger = TIM_TRGO_RESET;
  sMasterConfig.MasterSlaveMode = TIM_MASTERSLAVEMODE_DISABLE;
  if (HAL_TIMEx_MasterConfigSynchronization(&htim7, &sMasterConfig) != HAL_OK)
  {
    Error_Handler();
  }

}

static void MX_TIM16_Init(void)
{

  htim16.Instance = TIM16;
  htim16.Init.Prescaler = 2;
  htim16.Init.CounterMode = TIM_COUNTERMODE_UP;
  htim16.Init.Period = 10000;
  htim16.Init.ClockDivision = TIM_CLOCKDIVISION_DIV1;
  htim16.Init.RepetitionCounter = 0;
  htim16.Init.AutoReloadPreload = TIM_AUTORELOAD_PRELOAD_DISABLE;
  if (HAL_TIM_Base_Init(&htim16) != HAL_OK)
  {
    Error_Handler();
  }

}

static void MX_TIM17_Init(void)
{

  htim17.Instance = TIM17;
  htim17.Init.Prescaler = 150;
  htim17.Init.CounterMode = TIM_COUNTERMODE_UP;
  htim17.Init.Period = 65535;
  htim17.Init.ClockDivision = TIM_CLOCKDIVISION_DIV1;
  htim17.Init.RepetitionCounter = 0;
  htim17.Init.AutoReloadPreload = TIM_AUTORELOAD_PRELOAD_DISABLE;
  if (HAL_TIM_Base_Init(&htim17) != HAL_OK)
  {
    Error_Handler();
  }

}

static void MX_USART1_UART_Init(void)
{

  huart1.Instance = USART1;
  huart1.Init.BaudRate = 115200;
  huart1.Init.WordLength = UART_WORDLENGTH_8B;
  huart1.Init.StopBits = UART_STOPBITS_1;
  huart1.Init.Parity = UART_PARITY_NONE;
  huart1.Init.Mode = UART_MODE_TX_RX;
  huart1.Init.HwFlowCtl = UART_HWCONTROL_NONE;
  huart1.Init.OverSampling = UART_OVERSAMPLING_16;
  huart1.Init.OneBitSampling = UART_ONE_BIT_SAMPLE_DISABLE;
  huart1.Init.ClockPrescaler = UART_PRESCALER_DIV1;
  huart1.AdvancedInit.AdvFeatureInit = UART_ADVFEATURE_NO_INIT;
  if (HAL_UART_Init(&huart1) != HAL_OK)
  {
    Error_Handler();
  }
  if (HAL_UARTEx_SetTxFifoThreshold(&huart1, UART_TXFIFO_THRESHOLD_1_8) != HAL_OK)
  {
    Error_Handler();
  }
  if (HAL_UARTEx_SetRxFifoThreshold(&huart1, UART_RXFIFO_THRESHOLD_1_8) != HAL_OK)
  {
    Error_Handler();
  }
  if (HAL_UARTEx_DisableFifoMode(&huart1) != HAL_OK)
  {
    Error_Handler();
  }

}

static void MX_DMA_Init(void)
{

  /* DMA controller clock enable */
  __HAL_RCC_DMAMUX1_CLK_ENABLE();
  __HAL_RCC_DMA1_CLK_ENABLE();

  /* DMA interrupt init */
  /* DMA1_Channel1_IRQn interrupt configuration */
  HAL_NVIC_SetPriority(DMA1_Channel1_IRQn, 0, 0);
  HAL_NVIC_EnableIRQ(DMA1_Channel1_IRQn);
  /* DMA1_Channel2_IRQn interrupt configuration */
  HAL_NVIC_SetPriority(DMA1_Channel2_IRQn, 0, 0);
  HAL_NVIC_EnableIRQ(DMA1_Channel2_IRQn);

}

static void MX_GPIO_Init(void)
{
  GPIO_InitTypeDef GPIO_InitStruct = {0};

  /* GPIO Ports Clock Enable */
  __HAL_RCC_GPIOC_CLK_ENABLE();
  __HAL_RCC_GPIOA_CLK_ENABLE();
  __HAL_RCC_GPIOB_CLK_ENABLE();

  /*Configure GPIO pin Output Level */
  HAL_GPIO_WritePin(GPIOA, GPIO_PIN_4, GPIO_PIN_RESET);

  /*Configure GPIO pin Output Level */
  HAL_GPIO_WritePin(GPIOB, GPIO_PIN_13|GPIO_PIN_15|GPIO_PIN_8, GPIO_PIN_RESET);

  /*Configure GPIO pin Output Level */
  HAL_GPIO_WritePin(GPIOC, GPIO_PIN_6, GPIO_PIN_RESET);

  /*Configure GPIO pins : PC13 PC4 PC11 */
  GPIO_InitStruct.Pin = GPIO_PIN_13|GPIO_PIN_4|GPIO_PIN_11;
  GPIO_InitStruct.Mode = GPIO_MODE_IT_RISING_FALLING;
  GPIO_InitStruct.Pull = GPIO_NOPULL;
  HAL_GPIO_Init(GPIOC, &GPIO_InitStruct);

  /*Configure GPIO pin : PA4 */
  GPIO_InitStruct.Pin = GPIO_PIN_4;
  GPIO_InitStruct.Mode = GPIO_MODE_OUTPUT_PP;
  GPIO_InitStruct.Pull = GPIO_NOPULL;
  GPIO_InitStruct.Speed = GPIO_SPEED_FREQ_LOW;
  HAL_GPIO_Init(GPIOA, &GPIO_InitStruct);

  /*Configure GPIO pins : PB1 PB10 */
  GPIO_InitStruct.Pin = GPIO_PIN_1|GPIO_PIN_10;
  GPIO_InitStruct.Mode = GPIO_MODE_INPUT;
  GPIO_InitStruct.Pull = GPIO_NOPULL;
  HAL_GPIO_Init(GPIOB, &GPIO_InitStruct);

  /*Configure GPIO pins : PB13 PB15 PB8 */
  GPIO_InitStruct.Pin = GPIO_PIN_13|GPIO_PIN_15|GPIO_PIN_8;
  GPIO_InitStruct.Mode = GPIO_MODE_OUTPUT_PP;
  GPIO_InitStruct.Pull = GPIO_NOPULL;
  GPIO_InitStruct.Speed = GPIO_SPEED_FREQ_LOW;
  HAL_GPIO_Init(GPIOB, &GPIO_InitStruct);

  /*Configure GPIO pin : PC6 */
  GPIO_InitStruct.Pin = GPIO_PIN_6;
  GPIO_InitStruct.Mode = GPIO_MODE_OUTPUT_PP;
  GPIO_InitStruct.Pull = GPIO_NOPULL;
  GPIO_InitStruct.Speed = GPIO_SPEED_FREQ_LOW;
  HAL_GPIO_Init(GPIOC, &GPIO_InitStruct);

  /*Configure GPIO pin : PA12 */
  GPIO_InitStruct.Pin = GPIO_PIN_12;
  GPIO_InitStruct.Mode = GPIO_MODE_IT_RISING;
  GPIO_InitStruct.Pull = GPIO_NOPULL;
  HAL_GPIO_Init(GPIOA, &GPIO_InitStruct);

  /* EXTI interrupt init*/
  HAL_NVIC_SetPriority(EXTI4_IRQn, 0, 0);
  HAL_NVIC_EnableIRQ(EXTI4_IRQn);

  HAL_NVIC_SetPriority(EXTI15_10_IRQn, 0, 0);
  HAL_NVIC_EnableIRQ(EXTI15_10_IRQn);

}

void Error_Handler(void)
{
  __disable_irq();
  while (1)
  {
  }
}
